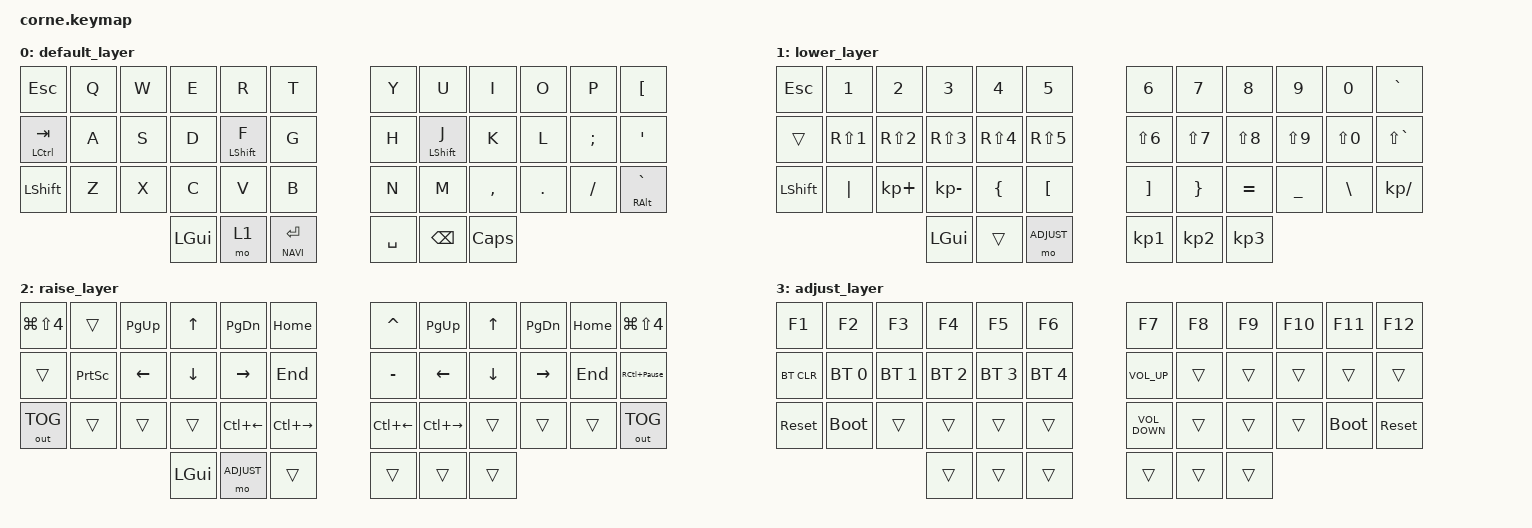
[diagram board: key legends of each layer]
#include <behaviors.dtsi>
#include <dt-bindings/zmk/bt.h>
#include <dt-bindings/zmk/keys.h>
#include <dt-bindings/zmk/outputs.h>

#define QWERTY 0
#define NUMB 1
#define NAVI 2
#define ADJUST 3


&lt {
    tapping-term-ms = <300>;
    quick_tap_ms = <200>;
    flavor = "hold-preferred";
};

/ {
    chosen { zmk,matrix_transform = &default_transform; };

    behaviors {
        hm: homerow_mods {
            compatible = "zmk,behavior-hold-tap";
            label = "HOMEROW_MODS";
            #binding-cells = <2>;
            tapping-term-ms = <150>;
            quick_tap_ms = <150>;
            flavor = "tap-preferred";
            bindings = <&kp>, <&kp>;
        };

        lm: left_hand_positional_hold_tap {
            compatible = "zmk,behavior-hold-tap";
            label = "LEFT_HOMEROW_MODS";
            #binding-cells = <2>;
            flavor = "tap-unless-interrupted";
            tapping-term-ms = <200>;
            quick-tap-ms = <200>;
            bindings = <&kp>, <&kp>;

            hold-trigger-key-positions = <6 7 8 9 18 19 30 31 32 33 21 20 10 11 23 22 34 35>;
        };

        rm: right_hand_positional_hold_tap {
            compatible = "zmk,behavior-hold-tap";
            label = "RIGHT_HOMEROW_MODS";
            #binding-cells = <2>;
            flavor = "tap-unless-interrupted";
            tapping-term-ms = <200>;
            quick-tap-ms = <200>;
            bindings = <&kp>, <&kp>;

            hold-trigger-key-positions = <1 2 3 4 13 14 25 26 27 15 16 5 17 29 28>;
        };
    };

    keymap {
        compatible = "zmk,keymap";

        default_layer {
            // .------------------------------------------------------------.       .-----------------------------------------------------------.
            // |   ESC      |   Q Й   |   W Ц  |   E К  |    R Е  |   T Е   |       |  Y Н  |   U Г   |   I Ш   |   O Щ   |    P З  |   \ /     |
            // |------------+---------+--------+--------+---------+---------|       |-------+---------+---------+---------+---------+-----------|
            // |   CTRL/Tab |   A Ф   |   S Ы  |   D В  |    F А  |   G П   |       |  H Р  |   J О   |   K Л   |   L Д   |    ; Ж  |   ' Э     |
            // |------------+---------+--------+--------+---------+---------|       |-------+---------+---------+---------+----------+----------|
            // |   SHFT     |   Z Я   |   X Ч  |   C С  |    V М  |   B И   |       |  N Т  |   M Ь   |   , Б   |   . Ю   |    / ,   | ` Ё| ALT |
            // '-------------------------------+--------+---------+---------+       |-------+---------+---------+-------------------------------'
            //                                 |  GUI   |   MO1   |   ENT   |       |  SPC  |   BKSP  |  CAPS   |
            //                                 '--------+---------+---------'       '-------+---------+---------'

            bindings = <
&kp ESC        &kp Q  &kp W  &kp E     &kp R         &kp T           &kp Y      &kp U        &kp I         &kp O    &kp P     &kp LBKT
&mt LCTRL TAB  &kp A  &kp S  &kp D     &lm LSHIFT F  &kp G           &kp H      &rm LSHFT J  &kp K         &kp L    &kp SEMI  &kp SQT
&kp LSHFT      &kp Z  &kp X  &kp C     &kp V         &kp B           &kp N      &kp M        &kp COMMA     &kp DOT  &kp FSLH  &mt RALT GRAVE
                             &kp LGUI  &mo 1         &lt NAVI RET    &kp SPACE  &kp BSPC     &kp CAPSLOCK
            >;
        };

        lower_layer {
            // .--------------------------------------------------------------.       .-----------------------------------------------------------.
            // |   ESC        |    1    |    2   |   3    |    4    |    5    |       |   6   |    7    |    8    |    9    |     0    |    `     |
            // |--------------+---------+--------+--------+---------+---------|       |-------+---------+---------+---------+----------+----------|
            // |              |    !    |   @ "  |  # №   |   $ ;   |    %    |       |  ^ :  |   & ?   |    *    |    (    |     )    |     :    |
            // |--------------+---------+--------+--------+---------+---------|       |-------+---------+---------+---------+----------+----------|
            // |   SHFT       |         |    +   |   -    |    {    |    [    |       |   ]   |    }    |    =    |    _    |          |          |
            // '---------------------------------+--------+---------+---------+       |-------+---------+---------+-------------------------------'
            //                                   |  GUI   |         |   MO3   |       |   ,   |    .    |   ?     |
            //                                   '--------+---------+---------'       '-------+---------+---------'

            bindings = <
&kp ESC    &kp N1            &kp N2            &kp N3            &kp N4            &kp N5              &kp N6             &kp N7           &kp N8      &kp N9          &kp N0         &kp GRAVE
&trans     &kp RS(NUMBER_1)  &kp RS(NUMBER_2)  &kp RS(NUMBER_3)  &kp RS(NUMBER_4)  &kp RS(N5)          &kp LS(NUMBER_6)   &kp LS(N7)       &kp LS(N8)  &kp LS(N9)      &kp LS(N0)     &kp LS(GRAVE)
&kp LSHFT  &kp PIPE          &kp KP_PLUS       &kp KP_MINUS      &kp LEFT_BRACE    &kp LEFT_BRACKET    &kp RIGHT_BRACKET  &kp RIGHT_BRACE  &kp EQUAL   &kp UNDERSCORE  &kp BACKSLASH  &kp KP_DIVIDE
                                               &kp LGUI          &trans            &mo ADJUST          &kp KP_N1          &kp KP_N2        &kp KP_N3
            >;
        };

        raise_layer {
            // .----------------------------------------------------------------.       .-----------------------------------------------------------------.
            // |   CMD+SHIFT+4  |       |   PU   |   UP   |    PD    |   HOME   |       |  HOME   |    PU    |    UP   |   PD    |          | CMD+SHIFT+4 |
            // |----------------+-------+--------+--------+----------+----------|       |---------+----------+---------+---------+----------+-------------|
            // |                |       |  LEFT  |  DOWN  |   RIGHT  |   END    |       |  END    |   LEFT   |   DOWN  |  RIGHT  |          |             |
            // |----------------+-------+--------+--------+----------+----------|       |---------+----------+---------+---------+----------+-------------|
            // |     OUT_TOG    |       |        |        |CTRL+LEFT |CTRL+RIGHT|       |CTRL+LEFT|CTRL+RIGHT|         |         |          |   OUT_TOG   |
            // '---------------------------------+--------+----------+----------+       |---------+----------+---------+----------------------------------'
            //                                   |  GUI   |   MO3    |          |       |         |          |         |
            //                                   '--------+----------+----------'       '---------+----------+---------'

            bindings = <
&kp LG(LS(N4))  &trans           &kp PAGE_UP     &kp UP_ARROW    &kp PAGE_DOWN       &kp HOME               &kp CARET           &kp PAGE_UP          &kp UP_ARROW    &kp PAGE_DOWN    &kp HOME  &kp LG(LS(N4))
&trans          &kp PRINTSCREEN  &kp LEFT_ARROW  &kp DOWN_ARROW  &kp RIGHT_ARROW     &kp END                &kp MINUS           &kp LEFT_ARROW       &kp DOWN_ARROW  &kp RIGHT_ARROW  &kp END   &kp RC(PAUSE_BREAK)
&out OUT_TOG    &trans           &trans          &trans          &kp LC(LEFT_ARROW)  &kp LC(RIGHT_ARROW)    &kp LC(LEFT_ARROW)  &kp LC(RIGHT_ARROW)  &trans          &trans           &trans    &out OUT_TOG
                                                 &kp LGUI        &mo ADJUST          &trans                 &trans              &trans               &trans
            >;
        };

        adjust_layer {
            // .--------------------------------------------------------.       .--------------------------------------------------------------.
            // |   F1    |   F2   |   F3   |   F4   |   F5    |   F6    |       |   F7   |   F8   |   F9    |   F10   |   F11    |     F12     |
            // |---------+--------+--------+--------+---------+---------|       |--------+--------+---------+---------+----------+-------------|
            // |  BTCLR  |  BT1   |  BT2   |  BT3   |  BT4    |  BT5    |       |  VOL+  |        |         |         |          |             |
            // |---------+--------+--------+--------+---------+---------|       |--------+--------+---------+---------+----------+-------------|
            // |   RST   |  BOOT  |        |        |         |         |       |  VOL-  |        |         |         |   BOOT   |     RST     | 
            // '---------------------------+--------+---------+---------+       |--------+--------+---------+----------------------------------'
            //                             |        |         |         |       |        |        |         |
            //                             '--------+---------+---------'       '--------+--------+---------'

            bindings = <
&kp F1      &kp F2        &kp F3        &kp F4        &kp F5        &kp F6          &kp F7             &kp F8  &kp F9  &kp F10  &kp F11      &kp F12
&bt BT_CLR  &bt BT_SEL 0  &bt BT_SEL 1  &bt BT_SEL 2  &bt BT_SEL 3  &bt BT_SEL 4    &kp C_VOLUME_UP    &trans  &trans  &trans   &trans       &trans
&sys_reset  &bootloader   &trans        &trans        &trans        &trans          &kp C_VOLUME_DOWN  &trans  &trans  &trans   &bootloader  &sys_reset
                                        &trans        &trans        &trans          &trans             &trans  &trans
            >;
        };
    };
};
